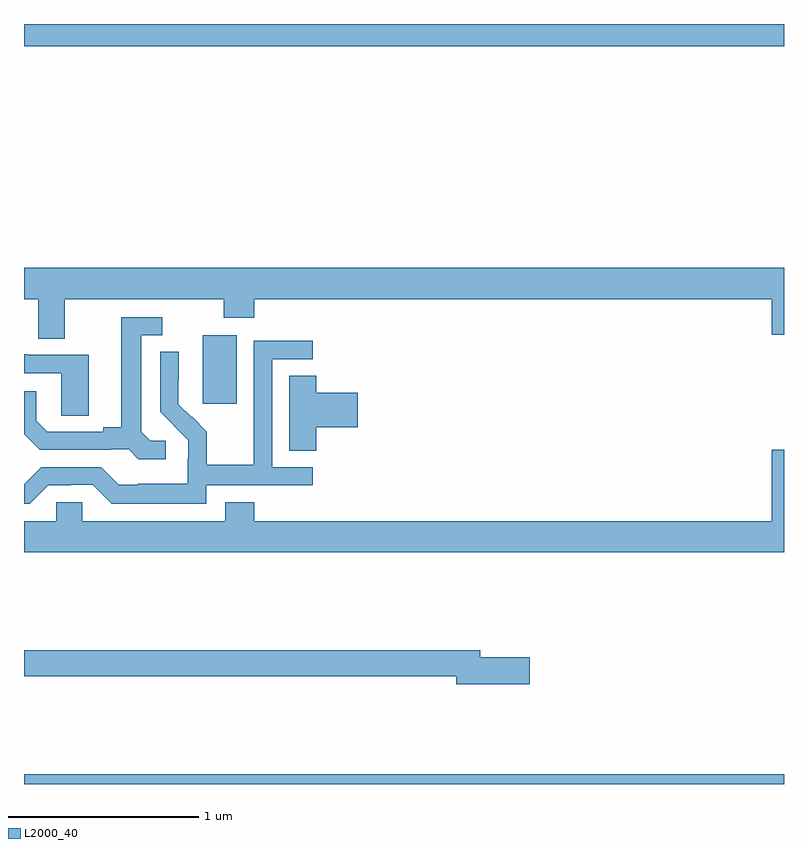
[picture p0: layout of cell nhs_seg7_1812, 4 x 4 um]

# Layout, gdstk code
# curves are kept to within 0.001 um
import gdstk
lib = gdstk.Library(unit=1e-6, precision=1e-09)
def R(c, l, rs):  # rectangles x0, y0, x1, y1
    for r in rs: c.add(gdstk.rectangle(r[:2], r[2:], *l))
def P(c, l, *ps):  # polygons
    for p in ps: c.add(gdstk.Polygon(p, *l))
L2000_40 = (2000, 40)

nhs_seg7_1812 = lib.new_cell('nhs_seg7_1812')
R(nhs_seg7_1812, L2000_40, [(233,1062,237,1062.052), (233.942,1064.001,234.121,1064.362), (233,1065.884,237,1066)])
P(nhs_seg7_1812, L2000_40, [(233.215,1064.552),(234.052,1064.552),(234.052,1064.453),(234.212,1064.453),(234.212,1064.552),(236.936,1064.552),(236.936,1064.364),(237,1064.364),(237,1064.716),(233,1064.716),(233,1064.552),(233.075,1064.552),(233.075,1064.344),(233.215,1064.344)],
  [(233.746,1063.806),(233.664,1063.806),(233.617,1063.853),(233.617,1064.361),(233.728,1064.361),(233.728,1064.457),(233.513,1064.457),(233.513,1063.877),(233.417,1063.877),(233.417,1063.854),(233.122,1063.854),(233.065,1063.911),(233.065,1064.068),(233,1064.068),(233,1063.842),(233.084,1063.758),(233.456,1063.758),(233.456,1063.761),(233.55,1063.761),(233.602,1063.709),(233.746,1063.709)],
  [(233.958,1063.572),(234.52,1063.572),(234.52,1063.668),(234.306,1063.668),(234.306,1064.235),(234.52,1064.235),(234.52,1064.334),(234.21,1064.334),(234.21,1063.904),(234.208,1063.904),(234.208,1063.681),(233.963,1063.681),(233.963,1063.855),(233.886,1063.932),(233.883,1063.929),(233.813,1064),(233.814,1064.276),(233.718,1064.276),(233.718,1063.958),(233.864,1063.81),(233.864,1063.713),(233.862,1063.713),(233.862,1063.579),(233.599,1063.579),(233.599,1063.575),(233.499,1063.575),(233.406,1063.668),(233.091,1063.668),(233,1063.577),(233,1063.476),(233.031,1063.476),(233.127,1063.572),(233.246,1063.572),(233.246,1063.575),(233.361,1063.575),(233.461,1063.475),(233.958,1063.475)],
  [(233.341,1064.259),(233.017,1064.259),(233.017,1064.263),(233,1064.263),(233,1064.163),(233.196,1064.163),(233.196,1063.939),(233.341,1063.939)],
  [(234.539,1063.877),(234.757,1063.877),(234.757,1064.06),(234.539,1064.06),(234.539,1064.15),(234.395,1064.15),(234.395,1063.753),(234.539,1063.753)],
  [(237,1063.759),(236.936,1063.759),(236.936,1063.384),(234.212,1063.384),(234.212,1063.483),(234.059,1063.483),(234.059,1063.384),(233.307,1063.384),(233.307,1063.482),(233.169,1063.482),(233.169,1063.384),(233,1063.384),(233,1063.22),(237,1063.22)],
  [(235.663,1062.668),(235.402,1062.668),(235.402,1062.704),(233,1062.704),(233,1062.568),(235.274,1062.568),(235.274,1062.526),(235.663,1062.526)])

lib.write_gds('nhs_seg7_1812.gds')
